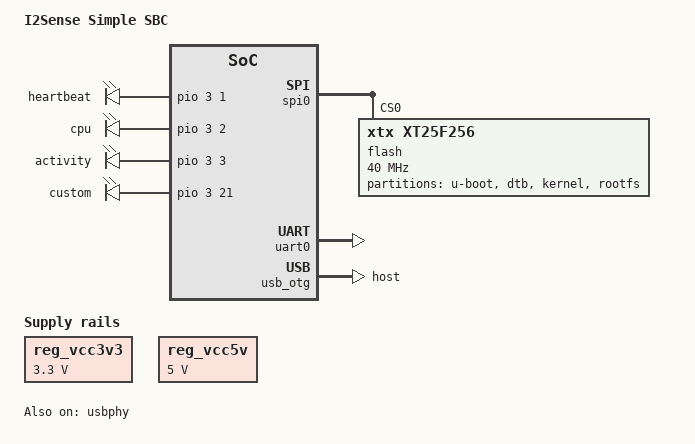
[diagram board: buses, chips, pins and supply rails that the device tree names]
// SPDX-License-Identifier: (GPL-2.0+ OR X11)
/*
 * Copyright 2018 Icenowy Zheng <icenowy@aosc.io>
 * Modified by: I2Sense Lab <dmatkin@ucalgary.ca>
 */

/dts-v1/;
#include "f1c200s_simple_sbc.dtsi"
#include <dt-bindings/gpio/gpio.h>

/ {
	model = "I2Sense Simple SBC";
	compatible = "allwinner,suniv-f1c100s";

	aliases {
		serial0 = &uart0;
	};

	chosen {
		stdout-path = "serial0:115200n8";
	};

	reg_vcc3v3: vcc3v3 {
		compatible = "regulator-fixed";
		regulator-name = "vcc3v3";
		regulator-min-microvolt = <3300000>;
		regulator-max-microvolt = <3300000>;
		regulator-always-on;
	};

	reg_vcc5v: vcc5v {
		compatible = "regulator-fixed";
		regulator-name = "usb_vbus";
		regulator-min-microvolt = <5000000>;
		regulator-max-microvolt = <5000000>;
		enable-active-high;
	};

leds {
	compatible = "gpio-leds";

	heartbeat_led: led-0 {
		label = "heartbeat";
		gpios = <&pio 3 1 GPIO_ACTIVE_HIGH>; // PD1
		linux,default-trigger = "heartbeat";
		default-state = "off";
	};

	cpu_led: led-1 {
		label = "cpu";
		gpios = <&pio 3 2 GPIO_ACTIVE_HIGH>; // PD2
		linux,default-trigger = "cpu";
		default-state = "off";
	};

	activity_led: led-2 {
		label = "activity";
		gpios = <&pio 3 3 GPIO_ACTIVE_HIGH>; // PD3
		linux,default-trigger = "activity";
		default-state = "off";
	};

	custom_led: led-3 {
		label = "custom";
		gpios = <&pio 3 21 GPIO_ACTIVE_HIGH>; // PD21
		linux,default-trigger = "none";
		default-state = "off";
	};
};


};

/*
 * Pin Definitions
 */

/*
&be0 {
	status = "okay";
};

&de {
	status = "okay";
};
*/

&spi0 {
	pinctrl-names = "default";
	pinctrl-0 = <&spi0_pins_a>;
	status = "okay";

	flash@0 {
		#address-cells = <1>;
		#size-cells = <1>;
		compatible = "xtx,xt25f256", "jedec,spi-nor";
		reg = <0>;
		spi-max-frequency = <40000000>;

		partitions {
			compatible = "fixed-partitions";
			#address-cells = <1>;
			#size-cells = <1>;

			partition@0 {
				label = "u-boot";
				reg = <0x000000 0x100000>;
				read-only;
			};

			partition@1 {
				label = "dtb";
				reg = <0x100000 0x10000>;
				read-only;
			};

			partition@2 {
				label = "kernel";
				reg = <0x110000 0x4F0000>;
				read-only;
			};

			partition@3 {
				label = "rootfs";
				reg = <0x600000 0x1A00000>;
			};
		};
	};
};

&uart0 {
	pinctrl-names = "default";
	pinctrl-0 = <&uart0_pe_pins>;
	status = "okay";
};

&otg_sram {
	status = "okay";
};

&usb_otg {
    dr_mode = "host";
    status = "okay";
};

&usbphy {
	status = "okay";
	usb0_vbus-supply = <&reg_vcc5v>;
};
